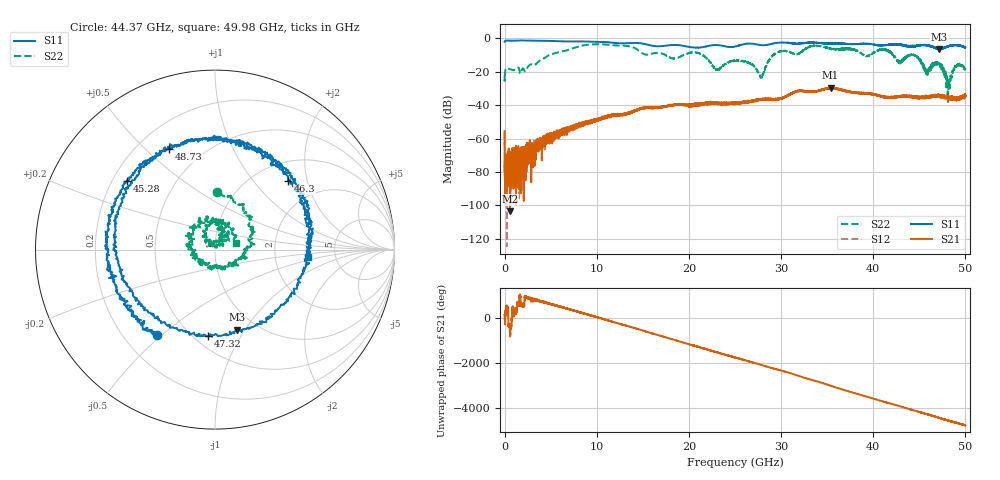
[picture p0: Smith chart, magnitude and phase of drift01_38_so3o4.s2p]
!Created with skrf (http://scikit-rf.org).
# Hz S RI R 50.0
!freq ReS11 ImS11 ReS21 ImS21 ReS12 ImS12 ReS22 ImS22
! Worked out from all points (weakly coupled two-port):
!   10001 points, 300 kHz to 50 GHz, reference 50 ohm
!   highest |S21| = -29.59 dB at 35.38 GHz (marker M1); lowest = -103.5 dB at 580.3 MHz (marker M2)
!   lowest |S11| = -6.7 dB at 47.18 GHz (marker M3), VSWR 2.72, Z = 40.5 - j46 ohm
!   |S11| at or under -10 dB: nowhere
!   |S22| runs from -38.2 to -3.6 dB; largest |S21 - S12| = 0.0036
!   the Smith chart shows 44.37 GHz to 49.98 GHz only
!   S11 on the Smith chart (normalised r, x): 44.37 GHz: 0.34, -0.48; 45.28 GHz: 0.26, +0.32; 46.3 GHz: 1.39, +1.54; 47.32 GHz: 0.59, -0.74; 48.73 GHz: 0.33, +0.59; 49.98 GHz: 3.11, -0.37
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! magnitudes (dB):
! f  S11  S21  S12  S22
! 300 kHz  -2.1  -55.6  -55.9  -22.3
! 255.3 MHz  -1.4  -71.7  -85.4  -18.0
! 580.3 MHz  -1.5  -103.5  -67.6  -18.6
! 8.335 GHz  -1.9  -52.1  -51.8  -4.6
! 16.67 GHz  -4.8  -41.4  -41.7  -8.7
! 20.96 GHz  -5.6  -39.8  -39.4  -8.7
! 23.08 GHz  -4.1  -39.0  -39.0  -18.8
! 25 GHz  -5.0  -39.2  -38.7  -13.5
! 27.84 GHz  -4.1  -36.9  -36.7  -22.9
! 29.47 GHz  -2.9  -36.7  -36.7  -8.8
! 33.34 GHz  -2.6  -32.0  -31.9  -4.7
! 35.38 GHz  -2.9  -29.6  -29.8  -6.1
! 41.67 GHz  -3.9  -35.0  -35.3  -7.7
! 44.37 GHz  -4.8  -35.1  -35.1  -9.8
! 45.28 GHz  -4.1  -34.8  -35.4  -15.6
! 46.3 GHz  -5.1  -34.8  -34.5  -16.5
! 47.18 GHz  -6.7  -35.1  -34.8  -15.4
! 47.32 GHz  -6.3  -35.6  -34.7  -15.4
! 48.13 GHz  -4.9  -35.4  -35.3  -34.0
! 48.73 GHz  -4.2  -35.4  -36.1  -18.2
! 49.98 GHz  -5.7  -33.7  -34.3  -18.3
! 50 GHz  -5.6  -34.5  -34.4  -18.2
